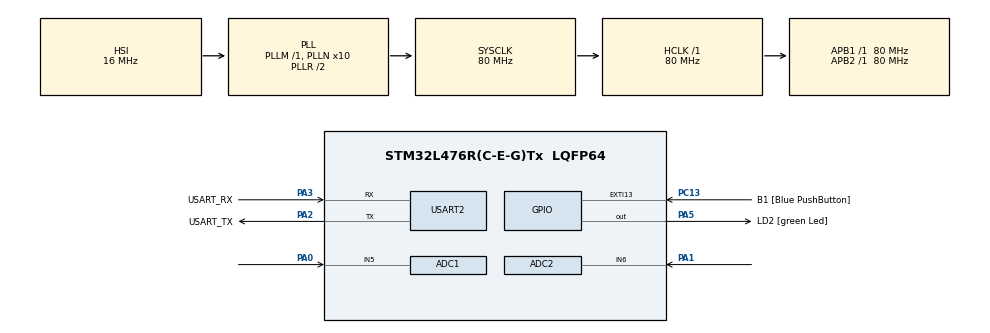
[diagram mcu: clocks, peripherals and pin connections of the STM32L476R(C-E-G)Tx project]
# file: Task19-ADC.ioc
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ADC1.Channel-1\#ChannelRegularConversion=ADC_CHANNEL_5
ADC1.ClockPrescaler=ADC_CLOCK_ASYNC_DIV64
ADC1.ContinuousConvMode=ENABLE
ADC1.NbrOfConversionFlag=1
ADC1.OffsetNumber-1\#ChannelRegularConversion=ADC_OFFSET_NONE
ADC1.Rank-1\#ChannelRegularConversion=1
ADC1.SamplingTime-1\#ChannelRegularConversion=ADC_SAMPLETIME_2CYCLES_5
ADC1.master=1
ADC2.Channel-1\#ChannelRegularConversion=ADC_CHANNEL_6
ADC2.ClockPrescaler=ADC_CLOCK_ASYNC_DIV64
ADC2.ContinuousConvMode=ENABLE
ADC2.NbrOfConversionFlag=1
ADC2.OffsetNumber-1\#ChannelRegularConversion=ADC_OFFSET_NONE
ADC2.Rank-1\#ChannelRegularConversion=1
ADC2.SamplingTime-1\#ChannelRegularConversion=ADC_SAMPLETIME_2CYCLES_5
Mcu.Family=STM32L4
Mcu.Name=STM32L476R(C-E-G)Tx
Mcu.Package=LQFP64
NVIC.ADC1_2_IRQn=true\:0\:0\:false\:false\:true\:true\:true\:true
NVIC.EXTI15_10_IRQn=true\:0\:0\:false\:false\:true\:true\:true\:true
NVIC.PriorityGroup=NVIC_PRIORITYGROUP_4
NVIC.TIM6_DAC_IRQn=true\:0\:0\:false\:false\:true\:true\:true\:true
NVIC.USART2_IRQn=true\:0\:0\:false\:false\:true\:true\:true\:true
PA0.Signal=ADCx_IN5
PA1.Signal=ADCx_IN6
PA13\ (JTMS-SWDIO).GPIO_Label=TMS
PA13\ (JTMS-SWDIO).Mode=Serial_Wire
PA13\ (JTMS-SWDIO).Signal=SYS_JTMS-SWDIO
PA14\ (JTCK-SWCLK).GPIO_Label=TCK
PA14\ (JTCK-SWCLK).Mode=Serial_Wire
PA14\ (JTCK-SWCLK).Signal=SYS_JTCK-SWCLK
PA2.GPIO_Label=USART_TX
PA2.GPIO_Mode=GPIO_MODE_AF_PP
PA2.GPIO_PuPd=GPIO_NOPULL
PA2.GPIO_Speed=GPIO_SPEED_FREQ_VERY_HIGH
PA2.Mode=Asynchronous
PA2.Signal=USART2_TX
PA3.GPIO_Label=USART_RX
PA3.GPIO_Mode=GPIO_MODE_AF_PP
PA3.GPIO_PuPd=GPIO_NOPULL
PA3.GPIO_Speed=GPIO_SPEED_FREQ_VERY_HIGH
PA3.Mode=Asynchronous
PA3.Signal=USART2_RX
PA5.GPIO_Label=LD2 [green Led]
PA5.GPIO_ModeDefaultOutputPP=GPIO_MODE_OUTPUT_PP
PA5.GPIO_PuPd=GPIO_NOPULL
PA5.GPIO_Speed=GPIO_SPEED_FREQ_LOW
PA5.Signal=GPIO_Output
PB3\ (JTDO-TRACESWO).GPIO_Label=SWO
PB3\ (JTDO-TRACESWO).Signal=SYS_JTDO-SWO
PC13.GPIO_Label=B1 [Blue PushButton]
PC13.GPIO_ModeDefaultEXTI=GPIO_MODE_IT_FALLING
PC13.GPIO_PuPd=GPIO_NOPULL
PC13.Signal=GPXTI13
PC14-OSC32_IN\ (PC14).Mode=LSE-External-Oscillator
PC14-OSC32_IN\ (PC14).Signal=RCC_OSC32_IN
PC15-OSC32_OUT\ (PC15).Mode=LSE-External-Oscillator
PC15-OSC32_OUT\ (PC15).Signal=RCC_OSC32_OUT
PH0-OSC_IN\ (PH0).Signal=RCC_OSC_IN
PH1-OSC_OUT\ (PH1).Signal=RCC_OSC_OUT
ProjectManager.HeapSize=0x200
ProjectManager.StackSize=0x400
ProjectManager.TargetToolchain=STM32CubeIDE
RCC.ADCFreq_Value=64000000
RCC.AHBFreq_Value=80000000
RCC.APB1Freq_Value=80000000
RCC.APB1TimFreq_Value=80000000
RCC.APB2Freq_Value=80000000
RCC.APB2TimFreq_Value=80000000
RCC.CortexFreq_Value=80000000
RCC.HCLKFreq_Value=80000000
RCC.HSE_VALUE=8000000
RCC.HSI_VALUE=16000000
RCC.MSI_VALUE=4000000
RCC.PLLN=10
RCC.PLLSourceVirtual=RCC_PLLSOURCE_HSI
RCC.PREFETCH_ENABLE=1
RCC.SYSCLKFreq_VALUE=80000000
RCC.SYSCLKSource=RCC_SYSCLKSOURCE_PLLCLK
RCC.USBFreq_Value=64000000
RCC.VCOOutputFreq_Value=160000000
SH.ADCx_IN5.0=ADC1_IN5,IN5-Single-Ended
SH.ADCx_IN6.0=ADC2_IN6,IN6-Single-Ended
TIM6.Period=10000-1
TIM6.Prescaler=8000-1
USART2.VirtualMode-Asynchronous=VM_ASYNC
VP_TIM6_VS_ClockSourceINT.Mode=Enable_Timer
board=NUCLEO-L476RG

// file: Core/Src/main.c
/* USER CODE BEGIN Header */
/**
  ******************************************************************************
  * @file           : main.c
  * @brief          : Main program body
  ******************************************************************************
  * @attention
  *
  * Copyright (c) 2022 STMicroelectronics.
  * All rights reserved.
  *
  * This software is licensed under terms that can be found in the LICENSE file
  * in the root directory of this software component.
  * If no LICENSE file comes with this software, it is provided AS-IS.
  *
  ******************************************************************************
  */
/* USER CODE END Header */
#include "main.h"

/* USER CODE BEGIN Includes */
#include <stdint.h>
#include <stdio.h>
#include <string.h>
/* USER CODE END Includes */

 ADC_HandleTypeDef hadc1;
ADC_HandleTypeDef hadc2;

TIM_HandleTypeDef htim6;

UART_HandleTypeDef huart2;

/* USER CODE BEGIN PV */
uint32_t dataAdc;
uint32_t dataLight;
int ADCAllowedToPrint = 0;
/* USER CODE END PV */

void SystemClock_Config(void);
void PeriphCommonClock_Config(void);
static void MX_GPIO_Init(void);
static void MX_USART2_UART_Init(void);
static void MX_ADC1_Init(void);
static void MX_TIM6_Init(void);
static void MX_ADC2_Init(void);

/* USER CODE BEGIN 0 */
int _write(int fd, char* ptr, int len)
{
    HAL_UART_Transmit(&huart2, (uint8_t *) ptr, len, HAL_MAX_DELAY);
    return len;
}

void HAL_TIM_PeriodElapsedCallback(TIM_HandleTypeDef * htim)
{
	if(htim == &htim6)
	{
		// ADC

	//	ADCAllowedToPrint = 1;
		 // HAL_GPIO_WritePin(GPIOA, GPIO_PIN_0, 1);  this line makes no difference....
//		  HAL_ADC_Start_IT(&hadc1);
//		  //HAL_ADC_PollForConversion(&hadc1, HAL_MAX_DELAY); this line makes no difference.... it does polling : "have you got the value yet?"
//		  dataAdc = HAL_ADC_GetValue(&hadc1);
//		  HAL_ADC_Stop_IT(&hadc1);
//		 printf("ADC conversion value : %d\r\n",dataAdc);

	  // Light sensor
		 // HAL_ADC_Start_IT(&hadc2);
		 // HAL_ADC_PollForConversion(&hadc2, HAL_MAX_DELAY);

		  //HAL_ADC_Stop_IT(&hadc2);
		  printf("Light Sensor Value : %d\r\n",dataLight);
		  printf("ADC sensor  Value:  %d\r\n",dataAdc);

	}

}

 void HAL_ADC_ConvCpltCallback(ADC_HandleTypeDef* hadc)
{
//	 if (ADCAllowedToPrint == 1)
//	 {
		 dataAdc = HAL_ADC_GetValue(&hadc1);
		 dataLight = HAL_ADC_GetValue(&hadc2);

		// ADCAllowedToPrint = 0 ;
//	 }

}

/* USER CODE END 0 */

int main(void)
{

  /* MCU Configuration--------------------------------------------------------*/

  /* Reset of all peripherals, Initializes the Flash interface and the Systick. */
  HAL_Init();

  /* Configure the system clock */
  SystemClock_Config();

/* Configure the peripherals common clocks */
  PeriphCommonClock_Config();

  /* Initialize all configured peripherals */
  MX_GPIO_Init();
  MX_USART2_UART_Init();
  MX_ADC1_Init();
  MX_TIM6_Init();
  MX_ADC2_Init();
  /* USER CODE BEGIN 2 */
  HAL_NVIC_EnableIRQ(TIM6_IRQn);
  HAL_TIM_Base_Start_IT(&htim6);
  HAL_NVIC_EnableIRQ(ADC1_2_IRQn);
  HAL_ADC_Start_IT(&hadc1);
  HAL_ADC_Start_IT(&hadc2);

  /* USER CODE END 2 */

  /* Infinite loop */
  while (1)
  {

    /* USER CODE BEGIN 3 */

	  // Just reading asnd printing adc without timer

	  HAL_GPIO_WritePin(GPIOA, GPIO_PIN_0, 1);
//	  HAL_ADC_Start_IT(&hadc1);
//	  HAL_ADC_PollForConversion(&hadc1, HAL_MAX_DELAY);
//	  HAL_ADC_ConvCpltCallback(&hadc1);

//	  dataAdc = HAL_ADC_GetValue(&hadc1);
//	  HAL_ADC_Stop_IT(&hadc1);
//	  printf(" ADC sensor %d\r\n",dataAdc);
	 // HAL_Delay(1000);

  }
  /* USER CODE END 3 */
}

void SystemClock_Config(void)
{
  RCC_OscInitTypeDef RCC_OscInitStruct = {0};
  RCC_ClkInitTypeDef RCC_ClkInitStruct = {0};

  /** Configure the main internal regulator output voltage
  */
  if (HAL_PWREx_ControlVoltageScaling(PWR_REGULATOR_VOLTAGE_SCALE1) != HAL_OK)
  {
    Error_Handler();
  }

  /** Initializes the RCC Oscillators according to the specified parameters
  * in the RCC_OscInitTypeDef structure.
  */
  RCC_OscInitStruct.OscillatorType = RCC_OSCILLATORTYPE_HSI;
  RCC_OscInitStruct.HSIState = RCC_HSI_ON;
  RCC_OscInitStruct.HSICalibrationValue = RCC_HSICALIBRATION_DEFAULT;
  RCC_OscInitStruct.PLL.PLLState = RCC_PLL_ON;
  RCC_OscInitStruct.PLL.PLLSource = RCC_PLLSOURCE_HSI;
  RCC_OscInitStruct.PLL.PLLM = 1;
  RCC_OscInitStruct.PLL.PLLN = 10;
  RCC_OscInitStruct.PLL.PLLP = RCC_PLLP_DIV7;
  RCC_OscInitStruct.PLL.PLLQ = RCC_PLLQ_DIV2;
  RCC_OscInitStruct.PLL.PLLR = RCC_PLLR_DIV2;
  if (HAL_RCC_OscConfig(&RCC_OscInitStruct) != HAL_OK)
  {
    Error_Handler();
  }

  /** Initializes the CPU, AHB and APB buses clocks
  */
  RCC_ClkInitStruct.ClockType = RCC_CLOCKTYPE_HCLK|RCC_CLOCKTYPE_SYSCLK
                              |RCC_CLOCKTYPE_PCLK1|RCC_CLOCKTYPE_PCLK2;
  RCC_ClkInitStruct.SYSCLKSource = RCC_SYSCLKSOURCE_PLLCLK;
  RCC_ClkInitStruct.AHBCLKDivider = RCC_SYSCLK_DIV1;
  RCC_ClkInitStruct.APB1CLKDivider = RCC_HCLK_DIV1;
  RCC_ClkInitStruct.APB2CLKDivider = RCC_HCLK_DIV1;

  if (HAL_RCC_ClockConfig(&RCC_ClkInitStruct, FLASH_LATENCY_4) != HAL_OK)
  {
    Error_Handler();
  }
}

void PeriphCommonClock_Config(void)
{
  RCC_PeriphCLKInitTypeDef PeriphClkInit = {0};

  /** Initializes the peripherals clock
  */
  PeriphClkInit.PeriphClockSelection = RCC_PERIPHCLK_ADC;
  PeriphClkInit.AdcClockSelection = RCC_ADCCLKSOURCE_PLLSAI1;
  PeriphClkInit.PLLSAI1.PLLSAI1Source = RCC_PLLSOURCE_HSI;
  PeriphClkInit.PLLSAI1.PLLSAI1M = 1;
  PeriphClkInit.PLLSAI1.PLLSAI1N = 8;
  PeriphClkInit.PLLSAI1.PLLSAI1P = RCC_PLLP_DIV7;
  PeriphClkInit.PLLSAI1.PLLSAI1Q = RCC_PLLQ_DIV2;
  PeriphClkInit.PLLSAI1.PLLSAI1R = RCC_PLLR_DIV2;
  PeriphClkInit.PLLSAI1.PLLSAI1ClockOut = RCC_PLLSAI1_ADC1CLK;
  if (HAL_RCCEx_PeriphCLKConfig(&PeriphClkInit) != HAL_OK)
  {
    Error_Handler();
  }
}

static void MX_ADC1_Init(void)
{

  ADC_MultiModeTypeDef multimode = {0};
  ADC_ChannelConfTypeDef sConfig = {0};

  /** Common config
  */
  hadc1.Instance = ADC1;
  hadc1.Init.ClockPrescaler = ADC_CLOCK_ASYNC_DIV64;
  hadc1.Init.Resolution = ADC_RESOLUTION_12B;
  hadc1.Init.DataAlign = ADC_DATAALIGN_RIGHT;
  hadc1.Init.ScanConvMode = ADC_SCAN_DISABLE;
  hadc1.Init.EOCSelection = ADC_EOC_SINGLE_CONV;
  hadc1.Init.LowPowerAutoWait = DISABLE;
  hadc1.Init.ContinuousConvMode = ENABLE;
  hadc1.Init.NbrOfConversion = 1;
  hadc1.Init.DiscontinuousConvMode = DISABLE;
  hadc1.Init.ExternalTrigConv = ADC_SOFTWARE_START;
  hadc1.Init.ExternalTrigConvEdge = ADC_EXTERNALTRIGCONVEDGE_NONE;
  hadc1.Init.DMAContinuousRequests = DISABLE;
  hadc1.Init.Overrun = ADC_OVR_DATA_PRESERVED;
  hadc1.Init.OversamplingMode = DISABLE;
  if (HAL_ADC_Init(&hadc1) != HAL_OK)
  {
    Error_Handler();
  }

  /** Configure the ADC multi-mode
  */
  multimode.Mode = ADC_MODE_INDEPENDENT;
  if (HAL_ADCEx_MultiModeConfigChannel(&hadc1, &multimode) != HAL_OK)
  {
    Error_Handler();
  }

  /** Configure Regular Channel
  */
  sConfig.Channel = ADC_CHANNEL_5;
  sConfig.Rank = ADC_REGULAR_RANK_1;
  sConfig.SamplingTime = ADC_SAMPLETIME_2CYCLES_5;
  sConfig.SingleDiff = ADC_SINGLE_ENDED;
  sConfig.OffsetNumber = ADC_OFFSET_NONE;
  sConfig.Offset = 0;
  if (HAL_ADC_ConfigChannel(&hadc1, &sConfig) != HAL_OK)
  {
    Error_Handler();
  }

}

static void MX_ADC2_Init(void)
{

  ADC_ChannelConfTypeDef sConfig = {0};

  /** Common config
  */
  hadc2.Instance = ADC2;
  hadc2.Init.ClockPrescaler = ADC_CLOCK_ASYNC_DIV64;
  hadc2.Init.Resolution = ADC_RESOLUTION_12B;
  hadc2.Init.DataAlign = ADC_DATAALIGN_RIGHT;
  hadc2.Init.ScanConvMode = ADC_SCAN_DISABLE;
  hadc2.Init.EOCSelection = ADC_EOC_SINGLE_CONV;
  hadc2.Init.LowPowerAutoWait = DISABLE;
  hadc2.Init.ContinuousConvMode = ENABLE;
  hadc2.Init.NbrOfConversion = 1;
  hadc2.Init.DiscontinuousConvMode = DISABLE;
  hadc2.Init.ExternalTrigConv = ADC_SOFTWARE_START;
  hadc2.Init.ExternalTrigConvEdge = ADC_EXTERNALTRIGCONVEDGE_NONE;
  hadc2.Init.DMAContinuousRequests = DISABLE;
  hadc2.Init.Overrun = ADC_OVR_DATA_PRESERVED;
  hadc2.Init.OversamplingMode = DISABLE;
  if (HAL_ADC_Init(&hadc2) != HAL_OK)
  {
    Error_Handler();
  }

  /** Configure Regular Channel
  */
  sConfig.Channel = ADC_CHANNEL_6;
  sConfig.Rank = ADC_REGULAR_RANK_1;
  sConfig.SamplingTime = ADC_SAMPLETIME_2CYCLES_5;
  sConfig.SingleDiff = ADC_SINGLE_ENDED;
  sConfig.OffsetNumber = ADC_OFFSET_NONE;
  sConfig.Offset = 0;
  if (HAL_ADC_ConfigChannel(&hadc2, &sConfig) != HAL_OK)
  {
    Error_Handler();
  }

}

static void MX_TIM6_Init(void)
{

  TIM_MasterConfigTypeDef sMasterConfig = {0};

  htim6.Instance = TIM6;
  htim6.Init.Prescaler = 8000-1;
  htim6.Init.CounterMode = TIM_COUNTERMODE_UP;
  htim6.Init.Period = 10000-1;
  htim6.Init.AutoReloadPreload = TIM_AUTORELOAD_PRELOAD_DISABLE;
  if (HAL_TIM_Base_Init(&htim6) != HAL_OK)
  {
    Error_Handler();
  }
  sMasterConfig.MasterOutputTrigger = TIM_TRGO_RESET;
  sMasterConfig.MasterSlaveMode = TIM_MASTERSLAVEMODE_DISABLE;
  if (HAL_TIMEx_MasterConfigSynchronization(&htim6, &sMasterConfig) != HAL_OK)
  {
    Error_Handler();
  }

}

static void MX_USART2_UART_Init(void)
{

  huart2.Instance = USART2;
  huart2.Init.BaudRate = 115200;
  huart2.Init.WordLength = UART_WORDLENGTH_8B;
  huart2.Init.StopBits = UART_STOPBITS_1;
  huart2.Init.Parity = UART_PARITY_NONE;
  huart2.Init.Mode = UART_MODE_TX_RX;
  huart2.Init.HwFlowCtl = UART_HWCONTROL_NONE;
  huart2.Init.OverSampling = UART_OVERSAMPLING_16;
  huart2.Init.OneBitSampling = UART_ONE_BIT_SAMPLE_DISABLE;
  huart2.AdvancedInit.AdvFeatureInit = UART_ADVFEATURE_NO_INIT;
  if (HAL_UART_Init(&huart2) != HAL_OK)
  {
    Error_Handler();
  }

}

static void MX_GPIO_Init(void)
{
  GPIO_InitTypeDef GPIO_InitStruct = {0};

  /* GPIO Ports Clock Enable */
  __HAL_RCC_GPIOC_CLK_ENABLE();
  __HAL_RCC_GPIOH_CLK_ENABLE();
  __HAL_RCC_GPIOA_CLK_ENABLE();
  __HAL_RCC_GPIOB_CLK_ENABLE();

  /*Configure GPIO pin Output Level */
  HAL_GPIO_WritePin(LD2_GPIO_Port, LD2_Pin, GPIO_PIN_RESET);

  /*Configure GPIO pin : B1_Pin */
  GPIO_InitStruct.Pin = B1_Pin;
  GPIO_InitStruct.Mode = GPIO_MODE_IT_FALLING;
  GPIO_InitStruct.Pull = GPIO_NOPULL;
  HAL_GPIO_Init(B1_GPIO_Port, &GPIO_InitStruct);

  /*Configure GPIO pin : LD2_Pin */
  GPIO_InitStruct.Pin = LD2_Pin;
  GPIO_InitStruct.Mode = GPIO_MODE_OUTPUT_PP;
  GPIO_InitStruct.Pull = GPIO_NOPULL;
  GPIO_InitStruct.Speed = GPIO_SPEED_FREQ_LOW;
  HAL_GPIO_Init(LD2_GPIO_Port, &GPIO_InitStruct);

  /* EXTI interrupt init*/
  HAL_NVIC_SetPriority(EXTI15_10_IRQn, 0, 0);
  HAL_NVIC_EnableIRQ(EXTI15_10_IRQn);

}

void Error_Handler(void)
{
  __disable_irq();
  while (1)
  {
  }
}
